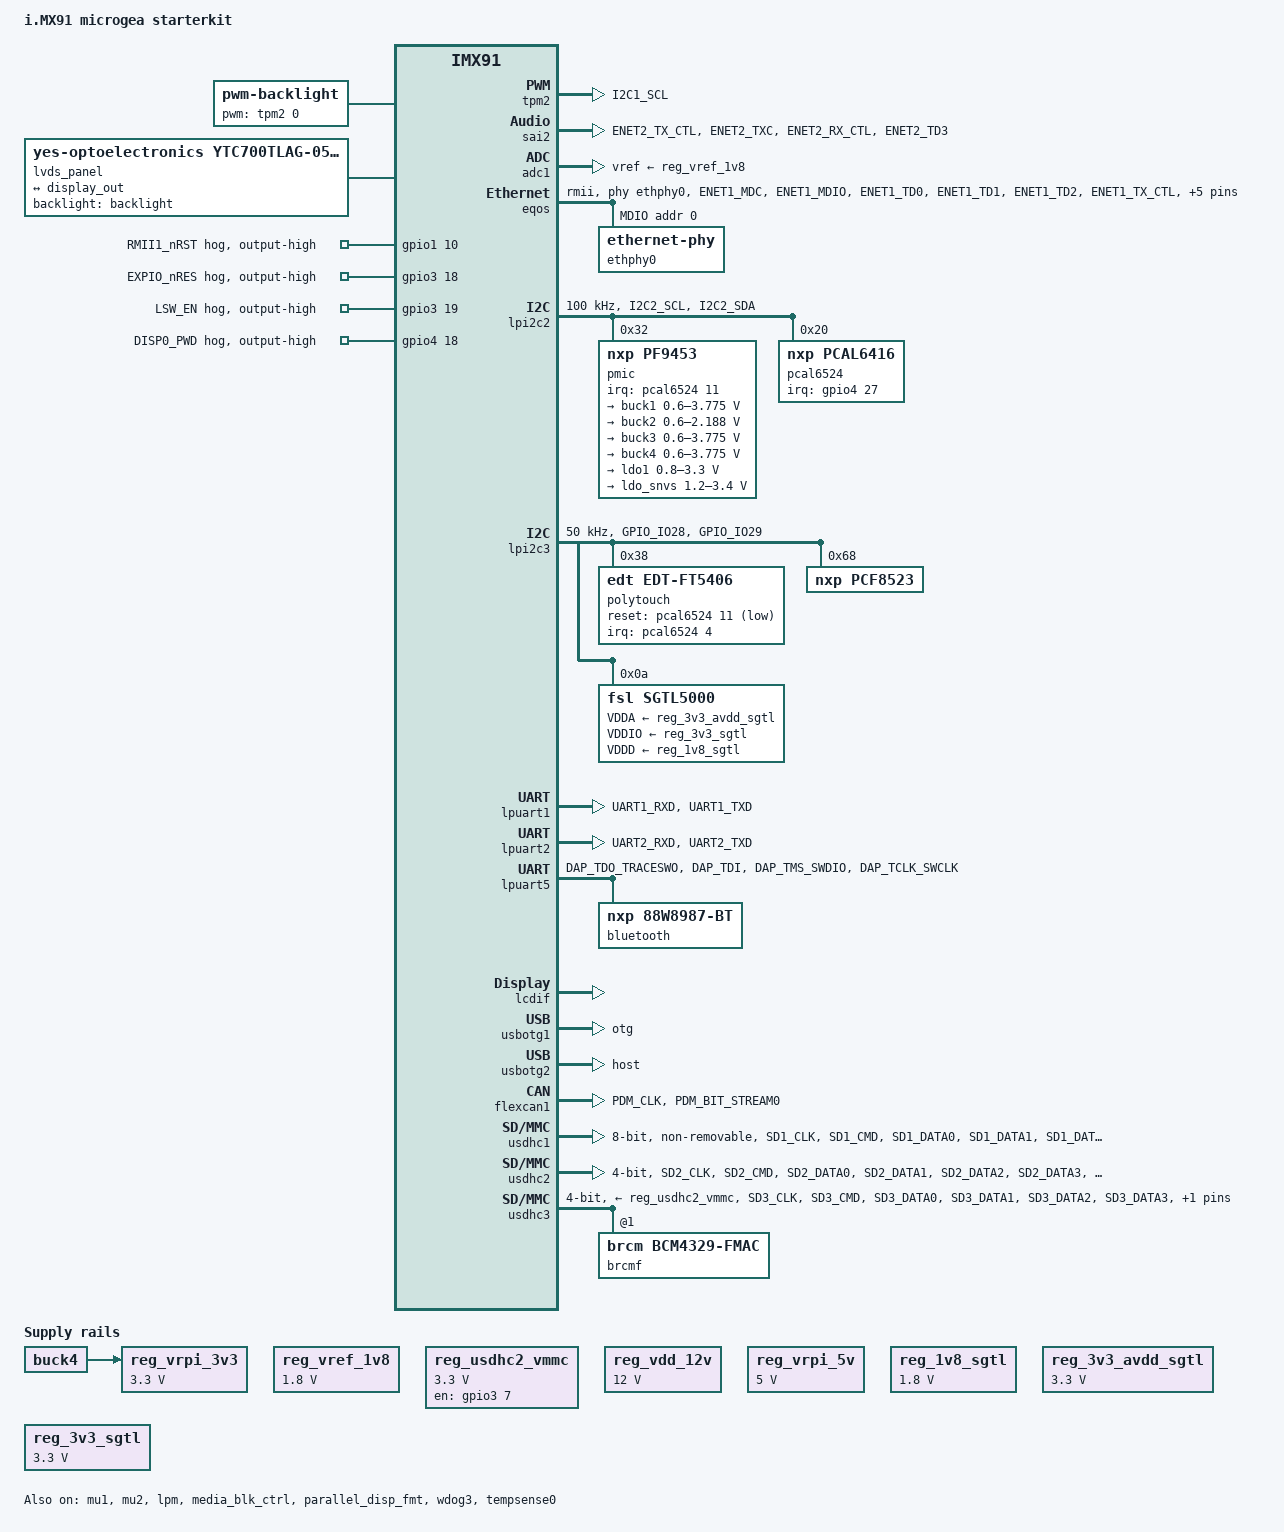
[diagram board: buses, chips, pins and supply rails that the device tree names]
// SPDX-License-Identifier: (GPL-2.0+ OR MIT)
/*
 * Copyright 2024 NXP
 */

/dts-v1/;

#include <dt-bindings/usb/pd.h>
#include "../freescale/imx91.dtsi"

&ele_fw2 {
	memory-region = <&ele_reserved>;
};

/ {
	model = "i.MX91 microgea starterkit";
	compatible = "eng,Starterkit2.0", "fsl,imx91";

	chosen {
		stdout-path = &lpuart1;
	};

	aliases {
		rtc0 = &pcf8523;
	};

	reserved-memory {
		#address-cells = <2>;
		#size-cells = <2>;
		ranges;

		linux,cma {
			compatible = "shared-dma-pool";
			reusable;
			alloc-ranges = <0 0x80000000 0 0x40000000>;
			size = <0 0x10000000>;
			linux,cma-default;
		};

		ele_reserved: ele-reserved@a4120000 {
			compatible = "shared-dma-pool";
			reg = <0 0xa4120000 0 0x100000>;
			no-map;
		};
	};

	reg_vref_1v8: regulator-adc-vref {
		compatible = "regulator-fixed";
		regulator-name = "vref_1v8";
		regulator-min-microvolt = <1800000>;
		regulator-max-microvolt = <1800000>;
	};

	reg_usdhc2_vmmc: regulator-usdhc2 {
		compatible = "regulator-fixed";
//		pinctrl-names = "default";
//		pinctrl-0 = <&pinctrl_reg_usdhc2_vmmc>;
		regulator-name = "VSD_3V3";
		regulator-min-microvolt = <3300000>;
		regulator-max-microvolt = <3300000>;
		gpio = <&gpio3 7 GPIO_ACTIVE_HIGH>;
		off-on-delay-us = <12000>;
		enable-active-high;
	};

	reg_vdd_12v: regulator-vdd-12v {
		compatible = "regulator-fixed";
		regulator-name = "reg_vdd_12v";
		regulator-min-microvolt = <12000000>;
		regulator-max-microvolt = <12000000>;
		enable-active-high;
	};

	reg_vrpi_3v3: regulator-vrpi-3v3 {
		compatible = "regulator-fixed";
		regulator-name = "VRPI_3V3";
		regulator-min-microvolt = <3300000>;
		regulator-max-microvolt = <3300000>;
		enable-active-high;
		vin-supply = <&buck4>;
	};

	reg_vrpi_5v: regulator-vrpi-5v {
		compatible = "regulator-fixed";
		regulator-name = "VRPI_5V";
		regulator-min-microvolt = <5000000>;
		regulator-max-microvolt = <5000000>;
		enable-active-high;
	};
	usdhc3_pwrseq: usdhc3_pwrseq {
		compatible = "mmc-pwrseq-simple";
	};

	reg_1v8_sgtl: reg_1v8_sgtl_regulator {
		compatible = "regulator-fixed";
		regulator-name = "1v8_sgtl";
		regulator-min-microvolt = <1800000>;
		regulator-max-microvolt = <1800000>;
		always-on;
	};

	reg_3v3_avdd_sgtl: reg_3v3_avdd_regulator {
		compatible = "regulator-fixed";
		regulator-name = "3v3_avdd_sgtl";
		regulator-min-microvolt = <3300000>;
		regulator-max-microvolt = <3300000>;
		always-on;
	};

	reg_3v3_sgtl: reg_3v3_sgtl_regulator {
		compatible = "regulator-fixed";
		regulator-name = "3v3_sgtl";
		regulator-min-microvolt = <3300000>;
		regulator-max-microvolt = <3300000>;
		always-on;
	};

	backlight: backlight {
		compatible = "pwm-backlight";
		pwms = <&tpm2 0 100000 0>;
		brightness-levels = <0 100>;
		num-interpolated-steps = <100>;
		default-brightness-level = <80>;
	};

	lvds_panel {
		compatible = "yes-optoelectronics,ytc700tlag-05-201c";
		backlight = <&backlight>;

		port {
			panel_in_lvds: endpoint {
				remote-endpoint = <&display_out>;
			};
		};
	};

	sound {
		compatible = "simple-audio-card";

		simple-audio-card,format = "i2s";
		simple-audio-card,widgets =
				"Microphone", "Microphone Jack",
				"Headphone", "Headphone Jack",
				"Speaker", "Speaker Ext",
				"Line", "Line In Jack";

		simple-audio-card,routing =
				"MIC_IN", "Microphone Jack",
				"Microphone Jack", "Mic Bias",
				"LINE_IN", "Line In Jack",
				"Headphone Jack", "HP_OUT",
				"Speaker Ext", "LINE_OUT";

		#sound-dai-cells = <2>;

		simple-audio-card,cpu {
				sound-dai = <&sai2>;
		};

		simple-audio-card,codec {
				sound-dai = <&sgtl5000>;
				frame-master;
				bitclock-master;
		};
	};
};

&tpm2 {
	pinctrl-names = "default";
	pinctrl-0 = <&pinctrl_tpm2_ch0>;
	status = "okay";
};

&sai2 {
	#sound-dai-cells = <0>;
	pinctrl-names = "default";
	pinctrl-0 = <&pinctrl_sai2>;
	assigned-clocks = <&clk IMX91_CLK_SAI2>;
	assigned-clock-parents = <&clk IMX91_CLK_AUDIO_PLL>;
	assigned-clock-rates = <12288000>;
	fsl,sai-mclk-direction-output;
	status = "okay";
};


&adc1 {
	vref-supply = <&reg_vref_1v8>;
	status = "okay";
};

&mu1 {
	status = "okay";
};

&mu2 {
	status = "okay";
};

&eqos {
	pinctrl-names = "default", "sleep";
	pinctrl-0 = <&pinctrl_eqos>;
	pinctrl-1 = <&pinctrl_eqos_sleep>;
	phy-mode = "rmii";
	phy-handle = <&ethphy0>;
	snps,rmii_refclk_ext;
	status = "okay";

	mdio {
		compatible = "snps,dwmac-mdio";
		#address-cells = <1>;
		#size-cells = <0>;
		clock-frequency = <5000000>;

		ethphy0: ethernet-phy@0 {
			reg = <0>;
		};
	};
};

&lpm {
	soc-supply = <&buck2>;
	status = "okay";
};

&lpi2c2 {
	#address-cells = <1>;
	#size-cells = <0>;
	clock-frequency = <100000>;
	pinctrl-names = "default", "sleep";
	pinctrl-0 = <&pinctrl_lpi2c2>;
	pinctrl-1 = <&pinctrl_lpi2c2>;
	status = "okay";

	pmic@32 {
		compatible = "nxp,pf9453";
		reg = <0x32>;
		interrupt-parent = <&pcal6524>;
		interrupts = <11 IRQ_TYPE_EDGE_FALLING>;

		regulators {
			buck1: BUCK1 {
				regulator-name = "BUCK1";
				regulator-min-microvolt = <600000>;
				regulator-max-microvolt = <3775000>;
				regulator-boot-on;
				regulator-always-on;
			};

			buck2: BUCK2 {
				regulator-name = "BUCK2";
				regulator-min-microvolt = <600000>;
				regulator-max-microvolt = <2187500>;
				regulator-boot-on;
				regulator-always-on;
				regulator-ramp-delay = <12500>;
			};

			buck3: BUCK3 {
				regulator-name = "BUCK3";
				regulator-min-microvolt = <600000>;
				regulator-max-microvolt = <3775000>;
				regulator-boot-on;
				regulator-always-on;
			};

			buck4: BUCK4{
				regulator-name = "BUCK4";
				regulator-min-microvolt = <600000>;
				regulator-max-microvolt = <3775000>;
				regulator-boot-on;
				regulator-always-on;
			};

			ldo1: LDO1 {
				regulator-name = "LDO1";
				regulator-min-microvolt = <800000>;
				regulator-max-microvolt = <3300000>;
				regulator-boot-on;
				regulator-always-on;
			};

			ldo_snvs: LDO_SNVS {
				regulator-name = "LDO_SNVS";
				regulator-min-microvolt = <1200000>;
				regulator-max-microvolt = <3400000>;
				regulator-boot-on;
				regulator-always-on;
			};
		};
	};

	pcal6524: gpio@20 {
		compatible = "nxp,pcal6416";
		pinctrl-names = "default";
		pinctrl-0 = <&pinctrl_pcal6416>;
		reg = <0x20>;
        interrupt-parent = <&gpio4>;
        interrupts = <27 IRQ_TYPE_LEVEL_LOW>;
		interrupt-controller;
		#interrupt-cells = <2>;
		gpio-controller;
		#gpio-cells = <2>;
		gpio-line-names =
			"EXPIO_0_0", "EXPIO_0_1", "EXPIO_0_2", "EXPIO_0_3",
			"EXPIO_0_4", "EXPIO_0_5", "EXPIO_0_6", "EXPIO_0_7",
			"EXPIO_1_0", "EXPIO_1_1", "EXPIO_1_2", "EXPIO_1_3",
			"EXPIO_1_4", "EXPIO_1_5", "EXPIO_1_6", "EXPIO_1_7";

			EXPIO_0_6 {
				gpio-hog;
				gpios = <6 0>;
				output-low;
			};

			exp-wlan-en {
				gpio-hog;
				gpios = <7 GPIO_ACTIVE_HIGH>;
				output-high;
			};
	};
};

&lpi2c3 {
	#address-cells = <1>;
	#size-cells = <0>;
	clock-frequency = <50000>;
	pinctrl-names = "default";
	pinctrl-0 = <&pinctrl_lpi2c3>;
	status = "okay";

	polytouch: edt-ft5x26@38 {
		compatible = "edt,edt-ft5406";
		reg = <0x38>;
		pinctrl-names = "default";
		interrupt-parent = <&pcal6524>;
		interrupts = <4 IRQ_TYPE_EDGE_FALLING>;
		reset-gpios= <&pcal6524 11 GPIO_ACTIVE_LOW>;
	};

	pcf8523: rtc@68 {
		compatible = "nxp,pcf8523";
		reg = <0x68>;
	};

	sgtl5000: codec@a {
		compatible = "fsl,sgtl5000";
		status = "okay";
		#sound-dai-cells = <0>;
		reg = <0x0a>;
		clocks = <&clk IMX91_CLK_SAI2_GATE>;
		clock-names = "mclk";
		assigned-clock-rates = <12000000>, <12000000>;
		VDDA-supply = <&reg_3v3_avdd_sgtl>;
		VDDIO-supply = <&reg_3v3_sgtl>;
		VDDD-supply = <&reg_1v8_sgtl>;
	};
};

&clk {
	init-on-array = <IMX91_CLK_CCM_CKO1>;
};


&lpuart1 { /* console */
	pinctrl-names = "default";
	pinctrl-0 = <&pinctrl_uart1>;
	status = "okay";
};

&lpuart2 { /* RS232 */
	pinctrl-names = "default";
	pinctrl-0 = <&pinctrl_uart2>;
	status = "okay";
};

&lpuart5 {
	/* BT */
	pinctrl-names = "default";
	pinctrl-0 = <&pinctrl_uart5>;
	status = "okay";

	bluetooth {
		compatible = "nxp,88w8987-bt";
	};
};

&lcdif {
	assigned-clock-rates = <300000000>, <30000000>, <400000000>, <133333333>;
	status = "okay";
};

&media_blk_ctrl {
	status = "okay";
};

&parallel_disp_fmt {
	pinctrl-names = "default";
	pinctrl-0 = <&pinctrl_lcdif>;
	fsl,interface-pix-fmt = "rgb888";
	status = "okay";

	ports {
		port@1 {
			reg = <1>;
			display_out: endpoint {
				remote-endpoint = <&panel_in_lvds>;
			};
		};
	};
};

&usbotg1 {
	dr_mode = "otg";
	status = "okay";
};

&usbotg2 {
	dr_mode = "host";
	status = "okay";
};

&micfil {
	status = "disabled";
};

&flexcan1 {
	pinctrl-names = "default";
	pinctrl-0 = <&pinctrl_flexcan1>;
	status = "okay";
};

&usdhc1 { /* eMMC */
	pinctrl-names = "default";
	pinctrl-0 = <&pinctrl_usdhc1>;
	bus-width = <8>;
	no-1-8-v;
	no-mmc-hs400;
	non-removable;
	status = "okay";
};

&usdhc2 {  /* SD card*/
    pinctrl-names = "default";
    pinctrl-0 = <&pinctrl_usdhc2>;
    mmc-pwrseq = <&usdhc3_pwrseq>; 
    cd-gpios = <&pcal6524 15 GPIO_ACTIVE_LOW>;
    max-frequency = <25000000>;
    bus-width = <4>;
    no-1-8-v;
    status = "okay";
};

&usdhc3 {  /* wifi/bt */
    #address-cells = <1>;
    #size-cells = <0>;

    pinctrl-names = "default", "state_100mhz", "state_200mhz";
    
    pinctrl-0 = <&pinctrl_usdhc3>, <&pinctrl_usdhc2_gpio>;
    pinctrl-1 = <&pinctrl_usdhc3_100mhz>, <&pinctrl_usdhc2_gpio>;
    pinctrl-2 = <&pinctrl_usdhc3_200mhz>, <&pinctrl_usdhc2_gpio>;
    
    vmmc-supply = <&reg_usdhc2_vmmc>; 
    bus-width = <4>;
    status = "okay";

    brcmf: bcrmf@1 {
        reg = <1>;
        compatible = "brcm,bcm4329-fmac";
    };
};

&wdog3 {
	status = "okay";
};

&tempsense0 {
	status = "okay";
};

&iomuxc {
	pinctrl_pmic: pmicirq {
		fsl,pins = <
			MX91_PAD_SD2_RESET_B__GPIO3_IO7	0x57e
		>;
	};

	pinctrl_tpm2_ch0: tpm2ch0grp {
		fsl,pins = <
			MX91_PAD_I2C1_SCL__TPM2_CH0	0x31e
		>;
	};

	pinctrl_flexcan1: flexcan1grp {
		fsl,pins = <
			MX91_PAD_PDM_CLK__CAN1_TX			0x139e
			MX91_PAD_PDM_BIT_STREAM0__CAN1_RX	0x139e
		>;
	};

	pinctrl_eqos: eqosgrp {
		fsl,pins = <
			MX91_PAD_ENET1_MDC__ENET1_MDC						0x57e
			MX91_PAD_ENET1_MDIO__ENET_QOS_MDIO					0x57e
			MX91_PAD_ENET1_TD0__ENET_QOS_RGMII_TD0				0x57e
			MX91_PAD_ENET1_TD1__ENET1_RGMII_TD1					0x57e
			MX91_PAD_ENET1_TD2__ENET_QOS_CLOCK_GENERATE_CLK		0x57e
			MX91_PAD_ENET1_TX_CTL__ENET_QOS_RGMII_TX_CTL		0x57e
			MX91_PAD_ENET1_RD0__ENET_QOS_RGMII_RD0				0x57e
			MX91_PAD_ENET1_RD1__ENET_QOS_RGMII_RD1				0x57e
			MX91_PAD_ENET1_RXC__ENET_QOS_RGMII_RXC				0x5fe
			MX91_PAD_ENET1_RX_CTL__ENET_QOS_RGMII_RX_CTL		0x57e
			MX91_PAD_PDM_BIT_STREAM1__GPIO1_IO10				0x57e
		>;
	};

	pinctrl_eqos_sleep: eqosgrpsleep {
		fsl,pins = <
			MX91_PAD_ENET1_MDC__GPIO4_IO0		0x31e
			MX91_PAD_ENET1_MDIO__GPIO4_IO1		0x31e
			MX91_PAD_ENET1_TD0__GPIO4_IO5       0x31e
			MX91_PAD_ENET1_TD1__GPIO4_IO4       0x31e
			MX91_PAD_ENET1_TD2__GPIO4_IO3		0x31e
			MX91_PAD_ENET1_TXC__GPIO4_IO7       0x31e
			MX91_PAD_ENET1_RD0__GPIO4_IO10		0x31e
			MX91_PAD_ENET1_RD1__GPIO4_IO11		0x31e
			MX91_PAD_ENET1_RXC__GPIO4_IO9		0x31e
			MX91_PAD_ENET1_RX_CTL__GPIO4_IO8	0x31e
		>;
	};

	pinctrl_lcdif: lcdifgrp {
		fsl,pins = <
			MX91_PAD_GPIO_IO00__MEDIAMIX_DISP_CLK		0x31e
			MX91_PAD_GPIO_IO01__MEDIAMIX_DISP_DE		0x31e
			MX91_PAD_GPIO_IO02__MEDIAMIX_DISP_VSYNC		0x31e
			MX91_PAD_GPIO_IO03__MEDIAMIX_DISP_HSYNC		0x31e
			MX91_PAD_GPIO_IO04__MEDIAMIX_DISP_DATA0		0x31e
			MX91_PAD_GPIO_IO05__MEDIAMIX_DISP_DATA1		0x31e
			MX91_PAD_GPIO_IO06__MEDIAMIX_DISP_DATA2		0x31e
			MX91_PAD_GPIO_IO07__MEDIAMIX_DISP_DATA3		0x31e
			MX91_PAD_GPIO_IO08__MEDIAMIX_DISP_DATA4		0x31e
			MX91_PAD_GPIO_IO09__MEDIAMIX_DISP_DATA5		0x31e
			MX91_PAD_GPIO_IO10__MEDIAMIX_DISP_DATA6		0x31e
			MX91_PAD_GPIO_IO11__MEDIAMIX_DISP_DATA7		0x31e
			MX91_PAD_GPIO_IO12__MEDIAMIX_DISP_DATA8		0x31e
			MX91_PAD_GPIO_IO13__MEDIAMIX_DISP_DATA9		0x31e
			MX91_PAD_GPIO_IO14__MEDIAMIX_DISP_DATA10	0x31e
			MX91_PAD_GPIO_IO15__MEDIAMIX_DISP_DATA11	0x31e
			MX91_PAD_GPIO_IO16__MEDIAMIX_DISP_DATA12	0x31e
			MX91_PAD_GPIO_IO17__MEDIAMIX_DISP_DATA13	0x31e
			MX91_PAD_GPIO_IO18__MEDIAMIX_DISP_DATA14	0x31e
			MX91_PAD_GPIO_IO19__MEDIAMIX_DISP_DATA15	0x31e
			MX91_PAD_GPIO_IO20__MEDIAMIX_DISP_DATA16	0x31e
			MX91_PAD_GPIO_IO21__MEDIAMIX_DISP_DATA17	0x31e
			MX91_PAD_GPIO_IO22__MEDIAMIX_DISP_DATA18	0x31e
			MX91_PAD_GPIO_IO23__MEDIAMIX_DISP_DATA19	0x31e
			MX91_PAD_GPIO_IO24__MEDIAMIX_DISP_DATA20	0x31e
			MX91_PAD_GPIO_IO25__MEDIAMIX_DISP_DATA21	0x31e
			MX91_PAD_GPIO_IO26__MEDIAMIX_DISP_DATA22	0x31e
			MX91_PAD_GPIO_IO27__MEDIAMIX_DISP_DATA23	0x31e
			MX91_PAD_ENET2_TD1__GPIO4_IO18				0x31e /* DISP0_PWD */
		>;
	};

	pinctrl_lcdif_gpio: lcdifgpiogrp {
		fsl,pins = <
			MX91_PAD_GPIO_IO00__GPIO2_IO0			0x51e
			MX91_PAD_GPIO_IO01__GPIO2_IO1			0x51e
			MX91_PAD_GPIO_IO02__GPIO2_IO2			0x51e
			MX91_PAD_GPIO_IO03__GPIO2_IO3			0x51e
		>;
	};

	pinctrl_lpi2c1: lpi2c1grp {
		fsl,pins = <
			//MX91_PAD_I2C1_SCL__LPI2C1_SCL			0x40000b9e
			//MX91_PAD_I2C1_SDA__LPI2C1_SDA			0x40000b9e
		>;
	};

	pinctrl_lpi2c2: lpi2c2grp {
		fsl,pins = <
			MX91_PAD_I2C2_SCL__LPI2C2_SCL			0x40000b9e
			MX91_PAD_I2C2_SDA__LPI2C2_SDA			0x40000b9e
		>;
	};

	pinctrl_lpi2c3: lpi2c3grp {
		fsl,pins = <
			MX91_PAD_GPIO_IO28__LPI2C3_SDA			0x40000b9e
			MX91_PAD_GPIO_IO29__LPI2C3_SCL			0x40000b9e
		>;
	};

	pinctrl_pcal6416: pcal6416grp {
		fsl,pins = <
			MX91_PAD_ENET2_RD3__GPIO4_IO27			0x31e /* INTERRUPT */
			MX91_PAD_SD1_STROBE__GPIO3_IO18			0x31e /* RESET */
		>;
	};

	pinctrl_uart1: uart1grp {
		fsl,pins = <
			MX91_PAD_UART1_RXD__LPUART1_RX			0x31e
			MX91_PAD_UART1_TXD__LPUART1_TX			0x31e
		>;
	};

	pinctrl_uart2: uart2grp {
		fsl,pins = <
			MX91_PAD_UART2_RXD__LPUART2_RX			0x31e
			MX91_PAD_UART2_TXD__LPUART2_TX			0x31e
		>;
	};

	pinctrl_uart5: uart5grp {
		fsl,pins = <
			MX91_PAD_DAP_TDO_TRACESWO__LPUART5_TX	0x31e
			MX91_PAD_DAP_TDI__LPUART5_RX		0x31e
			MX91_PAD_DAP_TMS_SWDIO__LPUART5_RTS_B	0x31e
			MX91_PAD_DAP_TCLK_SWCLK__LPUART5_CTS_B	0x31e
		>;
	};

	pinctrl_usdhc1: usdhc1grp {
		fsl,pins = <
			MX91_PAD_SD1_CLK__USDHC1_CLK		0x1582
			MX91_PAD_SD1_CMD__USDHC1_CMD		0x1382
			MX91_PAD_SD1_DATA0__USDHC1_DATA0	0x1382
			MX91_PAD_SD1_DATA1__USDHC1_DATA1	0x1382
			MX91_PAD_SD1_DATA2__USDHC1_DATA2	0x1382
			MX91_PAD_SD1_DATA3__USDHC1_DATA3	0x1382
			MX91_PAD_SD1_DATA4__USDHC1_DATA4	0x1382
			MX91_PAD_SD1_DATA5__USDHC1_DATA5	0x1382
			MX91_PAD_SD1_DATA6__USDHC1_DATA6	0x1382
			MX91_PAD_SD1_DATA7__USDHC1_DATA7	0x1382
		>;
	};

	pinctrl_usdhc1_100mhz: usdhc1-100mhzgrp {
		fsl,pins = <
			MX91_PAD_SD1_CLK__USDHC1_CLK		0x158e
			MX91_PAD_SD1_CMD__USDHC1_CMD		0x138e
			MX91_PAD_SD1_DATA0__USDHC1_DATA0	0x138e
			MX91_PAD_SD1_DATA1__USDHC1_DATA1	0x138e
			MX91_PAD_SD1_DATA2__USDHC1_DATA2	0x138e
			MX91_PAD_SD1_DATA3__USDHC1_DATA3	0x138e
			MX91_PAD_SD1_DATA4__USDHC1_DATA4	0x138e
			MX91_PAD_SD1_DATA5__USDHC1_DATA5	0x138e
			MX91_PAD_SD1_DATA6__USDHC1_DATA6	0x138e
			MX91_PAD_SD1_DATA7__USDHC1_DATA7	0x138e
			MX91_PAD_SD1_STROBE__USDHC1_STROBE	0x158e
		>;
	};

	pinctrl_usdhc1_200mhz: usdhc1-200mhzgrp {
		fsl,pins = <
			MX91_PAD_SD1_CLK__USDHC1_CLK		0x15fe
			MX91_PAD_SD1_CMD__USDHC1_CMD		0x13fe
			MX91_PAD_SD1_DATA0__USDHC1_DATA0	0x13fe
			MX91_PAD_SD1_DATA1__USDHC1_DATA1	0x13fe
			MX91_PAD_SD1_DATA2__USDHC1_DATA2	0x13fe
			MX91_PAD_SD1_DATA3__USDHC1_DATA3	0x13fe
			MX91_PAD_SD1_DATA4__USDHC1_DATA4	0x13fe
			MX91_PAD_SD1_DATA5__USDHC1_DATA5	0x13fe
			MX91_PAD_SD1_DATA6__USDHC1_DATA6	0x13fe
			MX91_PAD_SD1_DATA7__USDHC1_DATA7	0x13fe
			MX91_PAD_SD1_STROBE__USDHC1_STROBE	0x15fe
		>;
	};

    pinctrl_usdhc2_gpio: usdhc2gpiogrp {
        fsl,pins = <
            MX91_PAD_SD2_CD_B__GPIO3_IO0        0x31e
        >;
    };

	pinctrl_usdhc2: usdhc2grp {
        fsl,pins = <
            MX91_PAD_SD2_CLK__USDHC2_CLK        0x1582
            MX91_PAD_SD2_CMD__USDHC2_CMD        0x1382
            MX91_PAD_SD2_DATA0__USDHC2_DATA0    0x1382
            MX91_PAD_SD2_DATA1__USDHC2_DATA1    0x1382
            MX91_PAD_SD2_DATA2__USDHC2_DATA2    0x1382
            MX91_PAD_SD2_DATA3__USDHC2_DATA3    0x1382
        >;
    };

    pinctrl_usdhc3: usdhc3grp {
        fsl,pins = <
            MX91_PAD_SD3_CLK__USDHC3_CLK        0x1582
            MX91_PAD_SD3_CMD__USDHC3_CMD        0x1382
            MX91_PAD_SD3_DATA0__USDHC3_DATA0    0x1382
            MX91_PAD_SD3_DATA1__USDHC3_DATA1    0x1382
            MX91_PAD_SD3_DATA2__USDHC3_DATA2    0x1382
            MX91_PAD_SD3_DATA3__USDHC3_DATA3    0x1382
        >;
    };

    pinctrl_usdhc3_100mhz: usdhc3-100mhzgrp {
        fsl,pins = <
            MX91_PAD_SD3_CLK__USDHC3_CLK        0x158e
            MX91_PAD_SD3_CMD__USDHC3_CMD        0x138e
            MX91_PAD_SD3_DATA0__USDHC3_DATA0    0x138e
            MX91_PAD_SD3_DATA1__USDHC3_DATA1    0x138e
            MX91_PAD_SD3_DATA2__USDHC3_DATA2    0x138e
            MX91_PAD_SD3_DATA3__USDHC3_DATA3    0x138e
        >;
    };

    pinctrl_usdhc3_200mhz: usdhc3-200mhzgrp {
        fsl,pins = <
            MX91_PAD_SD3_CLK__USDHC3_CLK        0x15fe
            MX91_PAD_SD3_CMD__USDHC3_CMD        0x13fe
            MX91_PAD_SD3_DATA0__USDHC3_DATA0    0x13fe
            MX91_PAD_SD3_DATA1__USDHC3_DATA1    0x13fe
            MX91_PAD_SD3_DATA2__USDHC3_DATA2    0x13fe
            MX91_PAD_SD3_DATA3__USDHC3_DATA3    0x13fe
        >;
    };

	pinctrl_sgtl500_signals: sgtl500clkgrp {
		fsl,pins = <
			MX91_PAD_CCM_CLKO1__CCMSRCGPCMIX_CLKO1	0x31e
		>;
	};

	pinctrl_sai2: sai2grp {
		fsl,pins = <
			MX91_PAD_ENET2_TX_CTL__SAI2_TX_SYNC		0x31e
			MX91_PAD_ENET2_TXC__SAI2_TX_BCLK		0x31e
			MX91_PAD_ENET2_RX_CTL__SAI2_TX_DATA0	0x31e
			MX91_PAD_ENET2_TD3__SAI2_RX_DATA0		0x31e
		>;
	};
};

&gpio1 {
	gpio-line-names =
		"", "", "", "", "", "", "", "",
		"", "", "RMII1_nRST", "", "", "", "", "",
		"", "", "", "", "", "", "", "",
		"", "", "", "", "", "", "", "";
		RMII1_nRST {
			gpio-hog;
			gpios = <10 0>;
			output-high;
		};
};

&gpio2 {
	gpio-line-names =
		"", "", "", "", "", "", "", "",
		"", "", "", "", "", "", "", "",
		"", "", "", "", "", "", "", "",
		"", "", "", "", "", "", "", "";
};

&gpio3 {
	gpio-line-names =
		"", "", "", "", "", "", "", "",
		"", "", "", "", "", "", "", "",
		"", "", "EXPIO_nRES", "LSW_EN", "", "", "", "",
		"", "", "", "", "", "", "", "";
		EXPIO_nRES {
			gpio-hog;
			gpios = <18 0>;
			output-high;
		};
		LSW_EN {
			gpio-hog;
			gpios = <19 0>;
			output-high;
		};
};

&gpio4 {
	gpio-line-names =
		"", "", "", "", "", "", "", "",
		"", "", "", "", "", "", "", "",
		"", "", "DISP0_PWD", "", "", "", "", "",
		"", "", "", "", "", "", "", "";
		DISP0_PWD {
			gpio-hog;
			gpios = <18 0>;
			output-high;
		};
};
